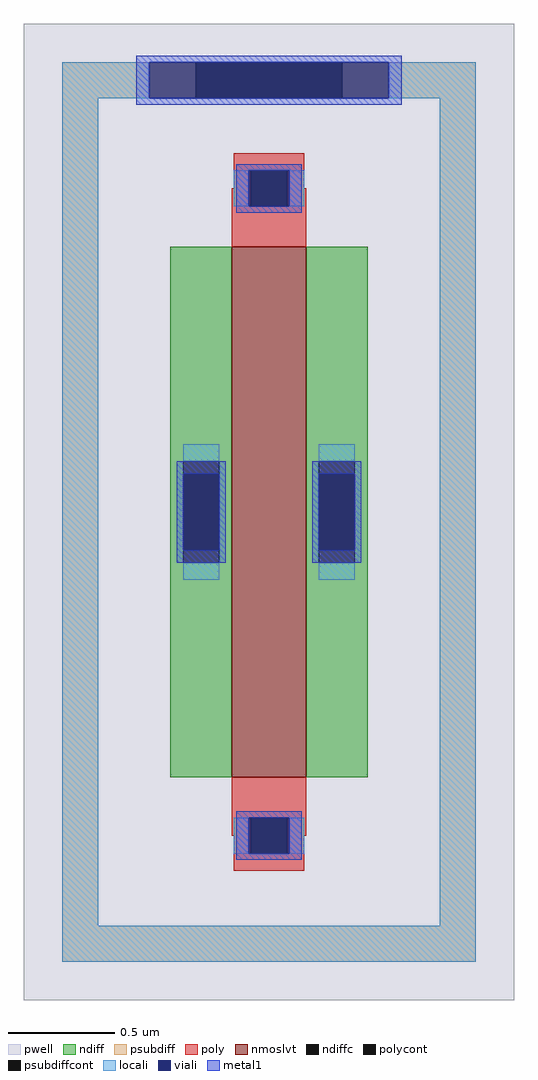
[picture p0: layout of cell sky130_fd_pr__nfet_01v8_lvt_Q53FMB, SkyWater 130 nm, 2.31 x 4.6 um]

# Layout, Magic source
magic
tech sky130A
magscale 1 2
<< pwell >>
rect -231 -460 231 460
<< nmoslvt >>
rect -35 -250 35 250
<< ndiff >>
rect -93 48 -35 250
rect -93 -48 -81 48
rect -47 -48 -35 48
rect -93 -250 -35 -48
rect 35 48 93 250
rect 35 -48 47 48
rect 81 -48 93 48
rect 35 -250 93 -48
<< ndiffc >>
rect -81 -48 -47 48
rect 47 -48 81 48
<< psubdiff >>
rect -195 390 -69 424
rect 69 390 195 424
rect -195 -390 -161 390
rect 161 -390 195 390
rect -195 -424 195 -390
<< psubdiffcont >>
rect -69 390 69 424
<< poly >>
rect -33 322 33 338
rect -33 305 -17 322
rect -35 288 -17 305
rect 17 305 33 322
rect 17 288 35 305
rect -35 250 35 288
rect -35 -288 35 -250
rect -35 -305 -17 -288
rect -33 -322 -17 -305
rect 17 -305 35 -288
rect 17 -322 33 -305
rect -33 -338 33 -322
<< polycont >>
rect -17 288 17 322
rect -17 -322 17 -288
<< locali >>
rect -195 390 -113 424
rect 113 390 195 424
rect -195 -390 -161 390
rect -33 288 -19 322
rect 19 288 33 322
rect -81 48 -47 64
rect -81 -64 -47 -48
rect 47 48 81 64
rect 47 -64 81 -48
rect -33 -322 -19 -288
rect 19 -322 33 -288
rect 161 -390 195 390
rect -195 -424 195 -390
<< viali >>
rect -113 390 -69 424
rect -69 390 69 424
rect 69 390 113 424
rect -19 288 -17 322
rect -17 288 17 322
rect 17 288 19 322
rect -81 -36 -47 36
rect 47 -36 81 36
rect -19 -322 -17 -288
rect -17 -322 17 -288
rect 17 -322 19 -288
<< metal1 >>
rect -125 424 125 430
rect -125 390 -113 424
rect 113 390 125 424
rect -125 384 125 390
rect -31 322 31 328
rect -31 288 -19 322
rect 19 288 31 322
rect -31 282 31 288
rect -87 36 -41 48
rect -87 -36 -81 36
rect -47 -36 -41 36
rect -87 -48 -41 -36
rect 41 36 87 48
rect 41 -36 47 36
rect 81 -36 87 36
rect 41 -48 87 -36
rect -31 -288 31 -282
rect -31 -322 -19 -288
rect 19 -322 31 -288
rect -31 -328 31 -322
<< properties >>
string FIXED_BBOX -178 -407 178 407
string gencell sky130_fd_pr__nfet_01v8_lvt
string library sky130
string parameters w 2.5 l 0.35 m 1 nf 1 diffcov 20 polycov 70 guard 1 glc 0 grc 0 gtc 1 gbc 0 tbcov 70 rlcov 70 topc 1 botc 1 poverlap 0 doverlap 1 lmin 0.15 wmin 0.42 compatible {sky130_fd_pr__nfet_01v8 sky130_fd_pr__nfet_01v8_lvt  sky130_fd_bs_flash__special_sonosfet_star  sky130_fd_pr__nfet_g5v0d10v5 sky130_fd_pr__nfet_05v0_nvt  sky130_fd_pr__nfet_03v3_nvt} full_metal 1 viasrc 15 viadrn 15 viagate 100 viagb 0 viagr 0 viagl 0 viagt 70
<< end >>
